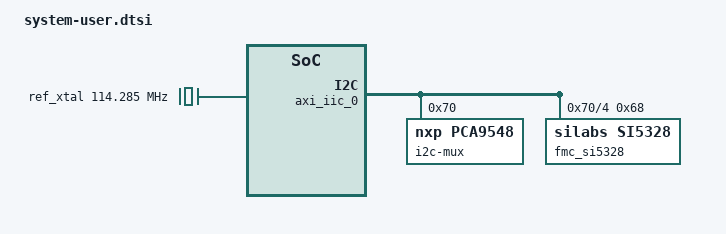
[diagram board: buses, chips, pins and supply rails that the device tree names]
/include/ "system-conf.dtsi"
/include/ "port-config.dtsi"
/ {
	ref_xtal: ref_xtal {
		compatible = "fixed-clock";
		#clock-cells = <0>;
		clock-frequency = <114285000>;
	};
};

&axi_iic_0 {
    i2c-mux@70 {
        compatible = "nxp,pca9548";
        #address-cells = <1>;
        #size-cells = <0>;
        reg = <0x70>;
		i2c@0 {
			#address-cells = <1>;
			#size-cells = <0>;
			reg = <0>;
			/* SFP28 slot 0 */
		};
		i2c@1 {
			#address-cells = <1>;
			#size-cells = <0>;
			reg = <1>;
			/* SFP28 slot 1 */
		};
		i2c@2 {
			#address-cells = <1>;
			#size-cells = <0>;
			reg = <2>;
			/* SFP28 slot 2 */
		};
		i2c@3 {
			#address-cells = <1>;
			#size-cells = <0>;
			reg = <3>;
			/* SFP28 slot 3 */
		};
		i2c@4 {
			#address-cells = <1>;
			#size-cells = <0>;
			reg = <4>;
			fmc_si5328: clock-generator@68 {
				compatible = "silabs,si5328";
				reg = <0x68>;
				#address-cells = <1>;
				#size-cells = <0>;
				#clock-cells = <1>;
				clocks = <&ref_xtal>;
				clock-names = "xtal";
				clock-output-names = "si5328";

				fmc_si5328_clk: clk0@0 {
					reg = <0>;
					clock-frequency = <156250000>;
				};
			};
		};
    };
};
